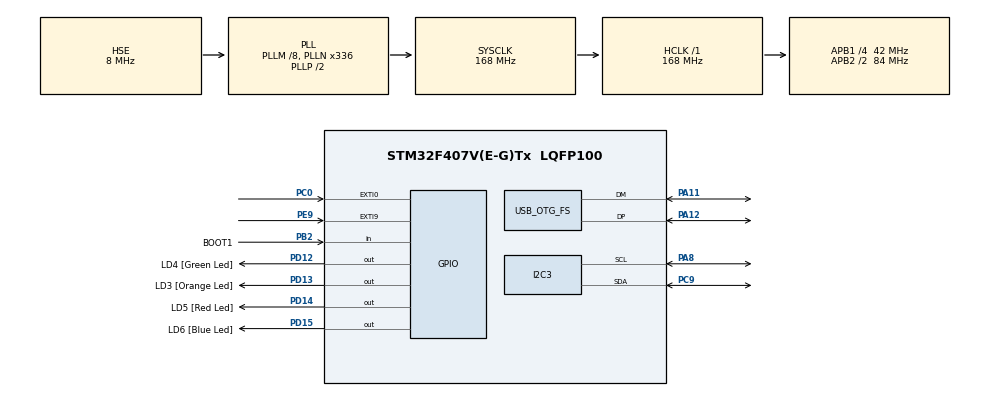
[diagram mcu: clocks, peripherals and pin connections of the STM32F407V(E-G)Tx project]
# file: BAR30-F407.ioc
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Mcu.Family=STM32F4
Mcu.Name=STM32F407V(E-G)Tx
Mcu.Package=LQFP100
NVIC.EXTI9_5_IRQn=true\:0\:0\:false\:false\:true\:true\:true\:true
NVIC.OTG_FS_IRQn=true\:0\:0\:false\:false\:true\:false\:true\:true
NVIC.PriorityGroup=NVIC_PRIORITYGROUP_0
PA11.Mode=Device_Only
PA11.Signal=USB_OTG_FS_DM
PA12.Mode=Device_Only
PA12.Signal=USB_OTG_FS_DP
PA13.GPIO_Label=SWDIO
PA13.Mode=Serial_Wire
PA13.Signal=SYS_JTMS-SWDIO
PA14.GPIO_Label=SWCLK
PA14.Mode=Serial_Wire
PA14.Signal=SYS_JTCK-SWCLK
PA8.Mode=I2C
PA8.Signal=I2C3_SCL
PB2.GPIO_Label=BOOT1
PB2.GPIO_Mode=GPIO_MODE_INPUT
PB2.GPIO_PuPd=GPIO_NOPULL
PB2.Signal=GPIO_Input
PB3.GPIO_Label=SWO
PB3.Signal=SYS_JTDO-SWO
PC0.Signal=GPXTI0
PC14-OSC32_IN.GPIO_Label=PC14-OSC32_IN
PC14-OSC32_IN.Mode=LSE-External-Oscillator
PC14-OSC32_IN.Signal=RCC_OSC32_IN
PC15-OSC32_OUT.GPIO_Label=PC15-OSC32_OUT
PC15-OSC32_OUT.Mode=LSE-External-Oscillator
PC15-OSC32_OUT.Signal=RCC_OSC32_OUT
PC9.Mode=I2C
PC9.Signal=I2C3_SDA
PD12.GPIO_Label=LD4 [Green Led]
PD12.GPIO_PuPd=GPIO_NOPULL
PD12.GPIO_Speed=GPIO_SPEED_FREQ_LOW
PD12.Signal=GPIO_Output
PD13.GPIO_Label=LD3 [Orange Led]
PD13.GPIO_PuPd=GPIO_NOPULL
PD13.GPIO_Speed=GPIO_SPEED_FREQ_LOW
PD13.Signal=GPIO_Output
PD14.GPIO_Label=LD5 [Red Led]
PD14.GPIO_PuPd=GPIO_NOPULL
PD14.GPIO_Speed=GPIO_SPEED_FREQ_LOW
PD14.Signal=GPIO_Output
PD15.GPIO_Label=LD6 [Blue Led]
PD15.GPIO_PuPd=GPIO_NOPULL
PD15.GPIO_Speed=GPIO_SPEED_FREQ_LOW
PD15.Signal=GPIO_Output
PE9.GPIO_ModeDefaultEXTI=GPIO_MODE_IT_FALLING
PE9.GPIO_PuPd=GPIO_PULLDOWN
PE9.Signal=GPXTI9
PH0-OSC_IN.GPIO_Label=PH0-OSC_IN
PH0-OSC_IN.Mode=HSE-External-Oscillator
PH0-OSC_IN.Signal=RCC_OSC_IN
PH1-OSC_OUT.GPIO_Label=PH1-OSC_OUT
PH1-OSC_OUT.Mode=HSE-External-Oscillator
PH1-OSC_OUT.Signal=RCC_OSC_OUT
ProjectManager.HeapSize=0x200
ProjectManager.StackSize=0x400
ProjectManager.TargetToolchain=STM32CubeIDE
RCC.48MHZClocksFreq_Value=48000000
RCC.AHBFreq_Value=168000000
RCC.APB1CLKDivider=RCC_HCLK_DIV4
RCC.APB1Freq_Value=42000000
RCC.APB1TimFreq_Value=84000000
RCC.APB2CLKDivider=RCC_HCLK_DIV2
RCC.APB2Freq_Value=84000000
RCC.APB2TimFreq_Value=168000000
RCC.CortexFreq_Value=168000000
RCC.HCLKFreq_Value=168000000
RCC.HSE_VALUE=8000000
RCC.HSI_VALUE=16000000
RCC.PLLM=8
RCC.PLLN=336
RCC.PLLQ=7
RCC.SYSCLKFreq_VALUE=168000000
RCC.SYSCLKSource=RCC_SYSCLKSOURCE_PLLCLK
RCC.VCOOutputFreq_Value=336000000
USB_DEVICE.CLASS_NAME_FS=CDC
USB_DEVICE.VirtualMode-CDC_FS=Cdc
USB_DEVICE.VirtualModeFS=Cdc_FS
USB_OTG_FS.VirtualMode=Device_Only
VP_USB_DEVICE_VS_USB_DEVICE_CDC_FS.Mode=CDC_FS
board=STM32F407G-DISC1

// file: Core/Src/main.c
/* USER CODE BEGIN Header */
/**
  ******************************************************************************
  * @file           : main.c
  * @brief          : Main program body
  ******************************************************************************
  * @attention
  *
  * Copyright (c) 2025 STMicroelectronics.
  * All rights reserved.
  *
  * This software is licensed under terms that can be found in the LICENSE file
  * in the root directory of this software component.
  * If no LICENSE file comes with this software, it is provided AS-IS.
  *
  ******************************************************************************
  */
/* USER CODE END Header */
#include "main.h"
#include "usb_device.h"

/* USER CODE BEGIN Includes */
#include "I2C.h"
#include "BAR30.h"
#include "MPU6050.h"
#include "AvarageFilter.h"
#include "MPU6050_Math.h"
/* USER CODE END Includes */

I2C_HandleTypeDef hi2c3;

void SystemClock_Config(void);
static void MX_GPIO_Init(void);
static void MX_I2C3_Init(void);

/* USER CODE BEGIN 0 */
char AccelBuffer[128], GyroBuffer[128], bufferAX[10], bufferAY[10], bufferAZ[10], bufferGX[10], bufferGY[10], bufferGZ[10];
uint16_t Txbuffer[1], RxBuffer[2];

/* USER CODE END 0 */

int main(void)
{

  /* MCU Configuration--------------------------------------------------------*/

  /* Reset of all peripherals, Initializes the Flash interface and the Systick. */
  HAL_Init();

  /* Configure the system clock */
  SystemClock_Config();

  /* Initialize all configured peripherals */
  MX_GPIO_Init();
  MX_USB_DEVICE_Init();
  MX_I2C3_Init();
  /* USER CODE BEGIN 2 */
//  while(BAR30_Init(&BAR30_1, 2, 0x76));

  /* USER CODE END 2 */

  /* Infinite loop */
  /* USER CODE BEGIN WHILE */

  BAR30_Init(&BAR30_1, I2CNO_3, (0x40));

  BAR30_Get_ScalingValues(&BAR30_1);
//  HAL_Delay(100);
//  while(BAR30_Reset(&BAR30_1) != BAR30_OK ){
//	  HAL_Delay(2);
//  }
////  MPU6050_Init(&MPU6050_1, I2CNO_2, (MPU6050_DEVICE_ADDRESS));
////  HAL_Delay(100);
//  BAR30_Get_AllPromData(&BAR30_1);
//  HAL_Delay(100);
//  AvarageFilter_Init(&AvarageFilter_MPU6050_ACCEL_X, 5);
//  AvarageFilter_Init(&AvarageFilter_MPU6050_ACCEL_Y, 5);
//  AvarageFilter_Init(&AvarageFilter_MPU6050_ACCEL_Z, 5);
//  AvarageFilter_Init(&AvarageFilter_MPU6050_GYRO_X, 5);
//  AvarageFilter_Init(&AvarageFilter_MPU6050_GYRO_Y, 5);
//  AvarageFilter_Init(&AvarageFilter_MPU6050_GYRO_Z, 5);
while (1)
{
    /* USER CODE END WHILE */

    /* USER CODE BEGIN 3 */

	BAR30_StartPressureConversion(&BAR30_1);
	HAL_Delay(25);
	BAR30_ReadPressure(&BAR30_1);
	HAL_Delay(25);
//	BAR30_StartTemperatureConversion(&BAR30_1);
//	HAL_Delay(100);
//	BAR30_ReadTemperature(&BAR30_1);
//	HAL_Delay(10);
//	if(MPU6050_1dataReadyFlag){
//		MPU6050_1.dataReadyFlag = 0;
//		MPU6050_Read_ACCEL_Data(&MPU6050_1);
//		MPU6050_Read_GYRO_Data(&MPU6050_1);
//	}
//
//		if(!AvarageFilter2(&AvarageFilter_MPU6050_ACCEL_X, MPU6050_1.RegGroup_Data.ACCEL_Axis_X_Data))
//			MPU6050_1.FilteredValues.ACCEL_Axis_X_Filtered = AvarageFilter_MPU6050_ACCEL_X.Avarage;
//		if(!AvarageFilter2(&AvarageFilter_MPU6050_ACCEL_Y, MPU6050_1.RegGroup_Data.ACCEL_Axis_Y_Data))
//			MPU6050_1.FilteredValues.ACCEL_Axis_Y_Filtered = AvarageFilter_MPU6050_ACCEL_Y.Avarage;
//		if(!AvarageFilter2(&AvarageFilter_MPU6050_ACCEL_Z, MPU6050_1.RegGroup_Data.ACCEL_Axis_Z_Data))
//			MPU6050_1.FilteredValues.ACCEL_Axis_Z_Filtered = AvarageFilter_MPU6050_ACCEL_Z.Avarage;
//		if(!AvarageFilter2(&AvarageFilter_MPU6050_GYRO_X, MPU6050_1.RegGroup_Data.GYRO_Axis_X_Data))
//			MPU6050_1.FilteredValues.GYRO_Axis_X_Filtered = AvarageFilter_MPU6050_GYRO_X.Avarage;
//		if(!AvarageFilter2(&AvarageFilter_MPU6050_GYRO_Y, MPU6050_1.RegGroup_Data.GYRO_Axis_Y_Data))
//			MPU6050_1.FilteredValues.GYRO_Axis_Y_Filtered = AvarageFilter_MPU6050_GYRO_Y.Avarage;
//		if(!AvarageFilter2(&AvarageFilter_MPU6050_GYRO_Z, MPU6050_1.RegGroup_Data.GYRO_Axis_Z_Data))
//			MPU6050_1.FilteredValues.GYRO_Axis_Z_Filtered = AvarageFilter_MPU6050_GYRO_Z.Avarage;
//		MPU6050_MATH_Calculate_ACCEL_mG_Value(&MPU6050_1);
//		MPU6050_MATH_Calculate_GYRO_mG_Value(&MPU6050_1);
//
////		itoa(buffer, AccelBuffer, 10);
//
//		itoa(MPU6050_1.CalculatedValues.ACCEL_Axis_X_mG, bufferAX, 10);
//		itoa(MPU6050_1.CalculatedValues.ACCEL_Axis_Y_mG, bufferAY, 10);
//		itoa(MPU6050_1.CalculatedValues.ACCEL_Axis_Z_mG, bufferAZ, 10);
//		itoa(MPU6050_1.CalculatedValues.GYRO_Axis_X_mDDS , bufferGX, 10);
//		itoa(MPU6050_1.CalculatedValues.GYRO_Axis_Y_mDDS, bufferGY, 10);
//		itoa(MPU6050_1.CalculatedValues.GYRO_Axis_Z_mDDS, bufferGZ, 10);
//		sprintf(AccelBuffer, "ACC X : [%s]  ACC Y : [%s]  ACC Z :[ %s]     GYRO X : [%s]  GYRO Y : [%s]  GYRO Z :[ %s]\r\n", bufferAX, bufferAY, bufferAZ, bufferGX, bufferGY, bufferGZ);
//
//		CDC_Transmit_FS(AccelBuffer, strlen((char*)AccelBuffer));
//  HAL_Delay(5);
}
  /* USER CODE END 3 */
}

void SystemClock_Config(void)
{
  RCC_OscInitTypeDef RCC_OscInitStruct = {0};
  RCC_ClkInitTypeDef RCC_ClkInitStruct = {0};

  /** Configure the main internal regulator output voltage
  */
  __HAL_RCC_PWR_CLK_ENABLE();
  __HAL_PWR_VOLTAGESCALING_CONFIG(PWR_REGULATOR_VOLTAGE_SCALE1);

  /** Initializes the RCC Oscillators according to the specified parameters
  * in the RCC_OscInitTypeDef structure.
  */
  RCC_OscInitStruct.OscillatorType = RCC_OSCILLATORTYPE_HSE;
  RCC_OscInitStruct.HSEState = RCC_HSE_ON;
  RCC_OscInitStruct.PLL.PLLState = RCC_PLL_ON;
  RCC_OscInitStruct.PLL.PLLSource = RCC_PLLSOURCE_HSE;
  RCC_OscInitStruct.PLL.PLLM = 8;
  RCC_OscInitStruct.PLL.PLLN = 336;
  RCC_OscInitStruct.PLL.PLLP = RCC_PLLP_DIV2;
  RCC_OscInitStruct.PLL.PLLQ = 7;
  if (HAL_RCC_OscConfig(&RCC_OscInitStruct) != HAL_OK)
  {
    Error_Handler();
  }

  /** Initializes the CPU, AHB and APB buses clocks
  */
  RCC_ClkInitStruct.ClockType = RCC_CLOCKTYPE_HCLK|RCC_CLOCKTYPE_SYSCLK
                              |RCC_CLOCKTYPE_PCLK1|RCC_CLOCKTYPE_PCLK2;
  RCC_ClkInitStruct.SYSCLKSource = RCC_SYSCLKSOURCE_PLLCLK;
  RCC_ClkInitStruct.AHBCLKDivider = RCC_SYSCLK_DIV1;
  RCC_ClkInitStruct.APB1CLKDivider = RCC_HCLK_DIV4;
  RCC_ClkInitStruct.APB2CLKDivider = RCC_HCLK_DIV2;

  if (HAL_RCC_ClockConfig(&RCC_ClkInitStruct, FLASH_LATENCY_5) != HAL_OK)
  {
    Error_Handler();
  }
}

static void MX_I2C3_Init(void)
{

  hi2c3.Instance = I2C3;
  hi2c3.Init.ClockSpeed = 100000;
  hi2c3.Init.DutyCycle = I2C_DUTYCYCLE_2;
  hi2c3.Init.OwnAddress1 = 0;
  hi2c3.Init.AddressingMode = I2C_ADDRESSINGMODE_7BIT;
  hi2c3.Init.DualAddressMode = I2C_DUALADDRESS_DISABLE;
  hi2c3.Init.OwnAddress2 = 0;
  hi2c3.Init.GeneralCallMode = I2C_GENERALCALL_DISABLE;
  hi2c3.Init.NoStretchMode = I2C_NOSTRETCH_DISABLE;
  if (HAL_I2C_Init(&hi2c3) != HAL_OK)
  {
    Error_Handler();
  }
  /* USER CODE BEGIN I2C3_Init 2 */
  I2C_Init(&hi2c3, I2CNO_3);
  /* USER CODE END I2C3_Init 2 */

}

static void MX_GPIO_Init(void)
{
  GPIO_InitTypeDef GPIO_InitStruct = {0};

  /* GPIO Ports Clock Enable */
  __HAL_RCC_GPIOC_CLK_ENABLE();
  __HAL_RCC_GPIOH_CLK_ENABLE();
  __HAL_RCC_GPIOB_CLK_ENABLE();
  __HAL_RCC_GPIOE_CLK_ENABLE();
  __HAL_RCC_GPIOD_CLK_ENABLE();
  __HAL_RCC_GPIOA_CLK_ENABLE();

  /*Configure GPIO pin Output Level */
  HAL_GPIO_WritePin(GPIOD, LD4_Pin|LD3_Pin|LD5_Pin|LD6_Pin, GPIO_PIN_RESET);

  /*Configure GPIO pin : PC0 */
  GPIO_InitStruct.Pin = GPIO_PIN_0;
  GPIO_InitStruct.Mode = GPIO_MODE_IT_RISING;
  GPIO_InitStruct.Pull = GPIO_NOPULL;
  HAL_GPIO_Init(GPIOC, &GPIO_InitStruct);

  /*Configure GPIO pin : BOOT1_Pin */
  GPIO_InitStruct.Pin = BOOT1_Pin;
  GPIO_InitStruct.Mode = GPIO_MODE_INPUT;
  GPIO_InitStruct.Pull = GPIO_NOPULL;
  HAL_GPIO_Init(BOOT1_GPIO_Port, &GPIO_InitStruct);

  /*Configure GPIO pin : PE9 */
  GPIO_InitStruct.Pin = GPIO_PIN_9;
  GPIO_InitStruct.Mode = GPIO_MODE_IT_FALLING;
  GPIO_InitStruct.Pull = GPIO_PULLDOWN;
  HAL_GPIO_Init(GPIOE, &GPIO_InitStruct);

  /*Configure GPIO pins : LD4_Pin LD3_Pin LD5_Pin LD6_Pin */
  GPIO_InitStruct.Pin = LD4_Pin|LD3_Pin|LD5_Pin|LD6_Pin;
  GPIO_InitStruct.Mode = GPIO_MODE_OUTPUT_PP;
  GPIO_InitStruct.Pull = GPIO_NOPULL;
  GPIO_InitStruct.Speed = GPIO_SPEED_FREQ_LOW;
  HAL_GPIO_Init(GPIOD, &GPIO_InitStruct);

  /* EXTI interrupt init*/
  HAL_NVIC_SetPriority(EXTI9_5_IRQn, 0, 0);
  HAL_NVIC_EnableIRQ(EXTI9_5_IRQn);

}

/* USER CODE BEGIN 4 */
void HAL_GPIO_EXTI_Callback(uint16_t GPIO_Pin)
{
  /* Prevent unused argument(s) compilation warning */
  if(GPIO_PIN_9)
	  MPU6050_1.dataReadyFlag = 1;
  /* NOTE: This function Should not be modified, when the callback is needed,
           the HAL_GPIO_EXTI_Callback could be implemented in the user file
   */
}
/* USER CODE END 4 */

void Error_Handler(void)
{
  __disable_irq();
  while (1)
  {
  }
}
